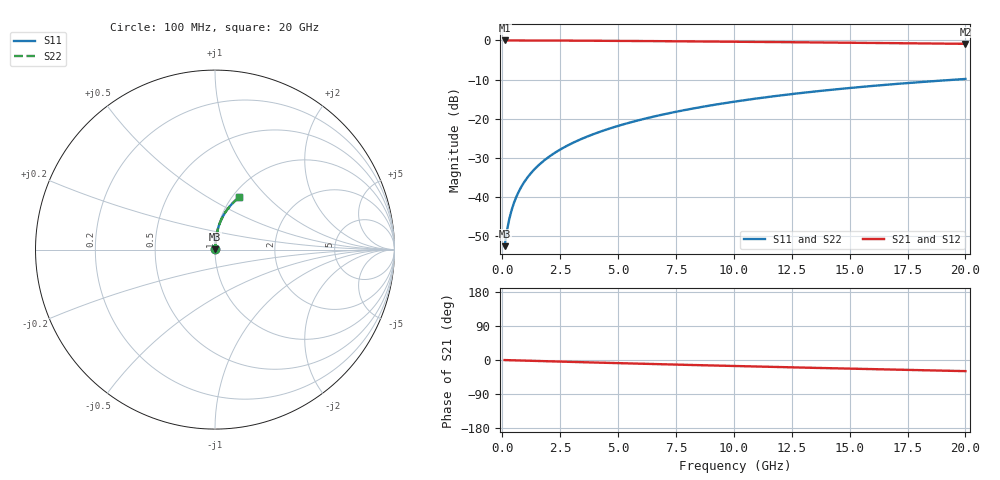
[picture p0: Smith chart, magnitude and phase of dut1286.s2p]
! Touchstone file exported from HFSS 2024.1.0
!  File:  C:/UserFiles/LocalFiles/RDL_TSV_Batchsim/temp_RDL_bottom_1286_1780246872.aedt
!  Generated:  01:03:47 AM Jun  1, 2026
!  Design:  RDL_bottom
!  Project:  temp_RDL_bottom_1286_1780246872
!  Setup:  Setup1
!  Solution:  Sweep
! Variables:
!  dtsv = 10.80580581um
!  hbump = 3um
!  htsv = 82.93um
!  ldown = 374.42um
!  lrdl = 100um
!  p = 40
!  p1 = 53.02um
!  rhole = 1um
!  t = 450um
!  tdown = 4.91um
!  trdl = 3.915915916um
!  wdown = 17.62um
!  wrdl = 20um
# GHz S MA R 50.000000
! Terminal data exported
! Port[1] = RDL1_T1
! Port[2] = RDL1_T2
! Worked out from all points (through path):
!   200 points, 100 MHz to 20 GHz, reference 50 ohm
!   highest |S21| = -0.01 dB at 100 MHz (marker M1); lowest = -0.9 dB at 20 GHz (marker M2)
!   group delay of S21, straight-line fit = 4.06 ps
!   lowest |S11| = -52.5 dB at 100 MHz (marker M3), VSWR 1.00, Z = 50.2 + j0.17 ohm
!   |S11| at or under -10 dB: start of sweep to 19.58 GHz
!   |S22| runs from -52.5 to -9.8 dB; largest |S21 - S12| = 3.2e-15
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0.1  0.002375 45.6  0.9983 -0.2  0.9983 -0.2  0.002375 45.6
! Gamma 0 0 0 0
! Port Impedance 50 0 50 0
0.2  0.003727 64.1  0.9983 -0.4  0.9983 -0.4  0.003726 64.1
0.3  0.005241 72.0  0.9982 -0.5  0.9982 -0.5  0.005239 72.0
0.4  0.006808 76.1  0.9981 -0.7  0.9981 -0.7  0.006806 76.1
0.5  0.0084 78.6  0.998 -0.9  0.998 -0.9  0.008398 78.6
0.6  0.01 80.2  0.9979 -1.0  0.9979 -1.0  0.01 80.2
0.8  0.01322 82.1  0.9977 -1.4  0.9977 -1.4  0.01322 82.1
1.1  0.01806 83.5  0.9973 -1.9  0.9973 -1.9  0.01806 83.5
1.3  0.02128 84.1  0.997 -2.2  0.997 -2.2  0.02128 84.1
1.5  0.0245 84.4  0.9967 -2.6  0.9967 -2.6  0.02449 84.4
1.8  0.02931 84.7  0.9962 -3.1  0.9962 -3.1  0.02931 84.7
2.1  0.03412 84.8  0.9956 -3.6  0.9956 -3.6  0.03412 84.8
2.7  0.04375 84.9  0.9941 -4.6  0.9941 -4.6  0.04375 84.9
3.5  0.05665 84.7  0.9916 -5.9  0.9916 -5.9  0.05665 84.7
4.2  0.06804 84.4  0.9892 -7.0  0.9892 -7.0  0.06804 84.4
5  0.08118 83.9  0.986 -8.3  0.986 -8.3  0.08118 83.9
6.8  0.1112 82.3  0.978 -11.1  0.978 -11.1  0.1112 82.3
8.4  0.1381 80.5  0.9702 -13.5  0.9702 -13.5  0.1381 80.5
10.1  0.1668 78.4  0.9614 -16.0  0.9614 -16.0  0.1668 78.4
13.4  0.2214 74.0  0.9433 -20.6  0.9433 -20.6  0.2214 74.0
16.7  0.2735 69.5  0.9241 -25.1  0.9241 -25.1  0.2736 69.5
20  0.3222 65.0  0.904 -29.4  0.904 -29.4  0.3222 65.0
